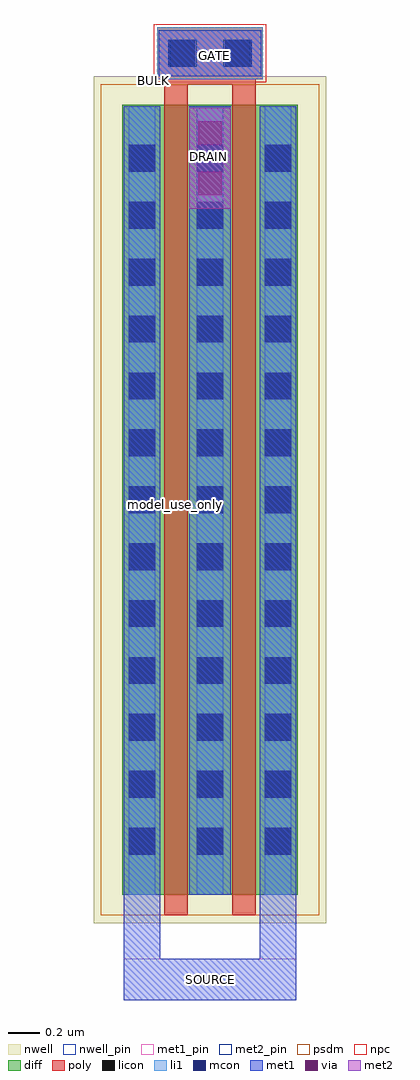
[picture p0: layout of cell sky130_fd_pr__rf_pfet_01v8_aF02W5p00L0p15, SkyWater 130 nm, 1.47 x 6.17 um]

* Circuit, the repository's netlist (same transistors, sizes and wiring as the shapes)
* Copyright 2020 The SkyWater PDK Authors
*
* Licensed under the Apache License, Version 2.0 (the "License");
* you may not use this file except in compliance with the License.
* You may obtain a copy of the License at
*
*     https://www.apache.org/licenses/LICENSE-2.0
*
* Unless required by applicable law or agreed to in writing, software
* distributed under the License is distributed on an "AS IS" BASIS,
* WITHOUT WARRANTIES OR CONDITIONS OF ANY KIND, either express or implied.
* See the License for the specific language governing permissions and
* limitations under the License.
*
* SPDX-License-Identifier: Apache-2.0


.subckt sky130_fd_pr__rf_pfet_01v8_aF02W5p00L0p15 BULK DRAIN GATE SOURCE
X0 SOURCE GATE DRAIN BULK sky130_fd_pr__pfet_01v8 w=5e+06u l=150000u
X1 DRAIN GATE SOURCE BULK sky130_fd_pr__pfet_01v8 w=5e+06u l=150000u
.ends

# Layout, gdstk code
import gdstk
lib = gdstk.Library(unit=1e-6, precision=1e-09)
def R(c, l, rs):  # rectangles x0, y0, x1, y1
    for r in rs: c.add(gdstk.rectangle(r[:2], r[2:], *l))
def A(c, l, x, y, w, h, nx, ny, dx, dy):  # array of equal rectangles
    R(c, l, [(x+i*dx, y+j*dy, x+i*dx+w, y+j*dy+h) for i in range(nx) for j in range(ny)])
nwell_pin = (64, 16)
nwell = (64, 20)
diff = (65, 20)
poly = (66, 20)
licon = (66, 44)
li1 = (67, 20)
mcon = (67, 44)
met1_pin = (68, 16)
met1 = (68, 20)
via = (68, 44)
met2_pin = (69, 16)
met2 = (69, 20)
psdm = (94, 20)
npc = (95, 20)

sky130_fd_pr__rf_pfet_01 = lib.new_cell('sky130_fd_pr__rf_pfet_01v8_aF02W5p00L0p15')
R(sky130_fd_pr__rf_pfet_01, nwell_pin, [(0.37,5.315,0.39,5.35)])
R(sky130_fd_pr__rf_pfet_01, nwell, [(0,0,1.47,5.36), (0,0,0.625,5.36), (0.415,0,1.055,5.36), (0.845,0,1.47,5.36)])
R(sky130_fd_pr__rf_pfet_01, diff, [(0.18,0.18,0.445,5.18), (0.195,0.18,0.445,5.18), (0.445,0.18,0.595,5.18), (0.595,0.18,0.875,5.18), (0.875,0.18,1.025,5.18), (1.025,0.18,1.275,5.18), (1.025,0.18,1.29,5.18)])
R(sky130_fd_pr__rf_pfet_01, poly, [(0.445,0.05,0.595,0.18), (0.445,0.05,0.595,5.31), (0.875,0.05,1.025,0.18), (0.875,0.05,1.025,5.31), (0.445,5.18,0.595,5.31), (0.875,5.18,1.025,5.31), (0.445,5.31,1.025,5.67), (0.4,5.34,1.07,5.67)])
A(sky130_fd_pr__rf_pfet_01, licon, 0.22, 0.435, 0.17, 0.17, 3, 13, 0.43, 0.36)
R(sky130_fd_pr__rf_pfet_01, licon, [(0.48,5.42,0.65,5.59), (0.82,5.42,0.99,5.59)])
A(sky130_fd_pr__rf_pfet_01, li1, 0.22, 0.18, 0.17, 4.99, 3, 1, 0.43, 0)
R(sky130_fd_pr__rf_pfet_01, li1, [(0.4,5.34,1.07,5.67), (0.47,5.42,1,5.59)])
A(sky130_fd_pr__rf_pfet_01, mcon, 0.22, 0.435, 0.17, 0.17, 3, 13, 0.43, 0.36)
R(sky130_fd_pr__rf_pfet_01, mcon, [(0.47,5.42,0.64,5.59), (0.83,5.42,1,5.59)])
R(sky130_fd_pr__rf_pfet_01, met1_pin, [(0.19,-0.485,1.28,-0.225), (0.41,5.36,1.06,5.65)])
R(sky130_fd_pr__rf_pfet_01, met1, [(0.41,5.36,1.06,5.65)])
R(sky130_fd_pr__rf_pfet_01, via, [(0.66,4.605,0.81,4.755), (0.66,4.925,0.81,5.075)])
R(sky130_fd_pr__rf_pfet_01, met2_pin, [(0.605,4.52,0.865,5.16)])
R(sky130_fd_pr__rf_pfet_01, met2, [(0.605,4.52,0.865,5.16)])
R(sky130_fd_pr__rf_pfet_01, psdm, [(0.045,0.05,0.575,5.31), (0.195,0.05,0.595,5.31), (0.465,0.05,1.005,5.31), (0.625,0.05,1.275,5.31), (0.895,0.05,1.425,5.31)])
R(sky130_fd_pr__rf_pfet_01, npc, [(0.38,5.32,1.09,5.69)])
sky130_fd_pr__rf_pfet_01.add(gdstk.FlexPath([(0.19,-0.355),(1.28,-0.355)], 0.26, ends="flush", simple_path=True, layer=68, datatype=20))  # met1
sky130_fd_pr__rf_pfet_01.add(gdstk.FlexPath([(1.165,5.17),(1.165,-0.485)], 0.23, ends="flush", simple_path=True, layer=68, datatype=20))  # met1
sky130_fd_pr__rf_pfet_01.add(gdstk.FlexPath([(0.735,5.17),(0.735,0.18)], 0.26, ends="flush", simple_path=True, layer=68, datatype=20))  # met1
sky130_fd_pr__rf_pfet_01.add(gdstk.FlexPath([(0.305,5.17),(0.305,-0.485)], 0.23, ends="flush", simple_path=True, layer=68, datatype=20))  # met1
sky130_fd_pr__rf_pfet_01.add(gdstk.Label('model_use_only', (0.515,2.65), layer=66, texttype=83))
sky130_fd_pr__rf_pfet_01.add(gdstk.Label('model_use_only', (0.945,2.675), layer=66, texttype=83))
sky130_fd_pr__rf_pfet_01.add(gdstk.Label('DRAIN', (0.725,4.85), layer=69, texttype=16))
sky130_fd_pr__rf_pfet_01.add(gdstk.Label('SOURCE', (0.735,-0.355), layer=68, texttype=16))
sky130_fd_pr__rf_pfet_01.add(gdstk.Label('GATE', (0.765,5.49), layer=68, texttype=16))
sky130_fd_pr__rf_pfet_01.add(gdstk.Label('BULK', (0.38,5.335), layer=64, texttype=5))

lib.write_gds('sky130_fd_pr__rf_pfet_01v8_aF02W5p00L0p15.gds')
